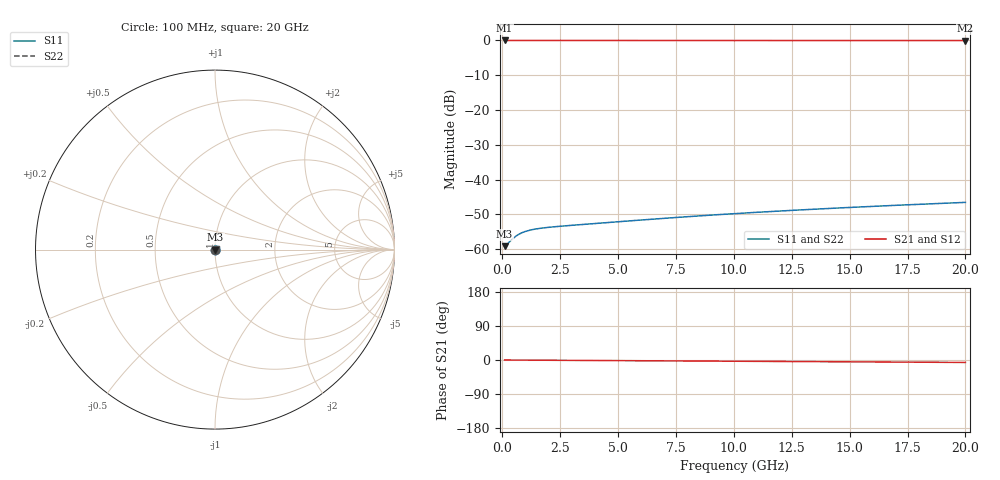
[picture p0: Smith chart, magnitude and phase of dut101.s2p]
! Touchstone file exported from HFSS 2026.1.0
!  File:  C:/ffzhzh/LocalFiles/Ansys_Project_Files/temp_train_BSMRDL_101_1782985683_42984.aedt
!  Generated:  05:49:14 PM Jul  2, 2026
!  Design:  BSMRDL
!  Project:  temp_train_BSMRDL_101_1782985683_42984
! Variables:
!  h_bsmrdl = 2.17um
!  h_ox = 20um
!  h_rdl = 5um
!  h_sub = 80um
!  h_tmrdl = 5um
!  h_tsv = 80um
!  h_via = 3um
!  l_bsmrdl = 100.97um
!  l_sub = 500.97um
!  l_tmrdl = 200um
!  m_sub = 200um
!  pitch = 28.79um
!  r_tsv = 6um
!  s_tmrdl = 10um
!  w_bsmrdl = 25.84um
!  w_sub = 500um
!  w_tmrdl = 12um
!  x_tsv_center1 = 206um
!  x_tsv_center2 = 332.81um
!  x_tsv_center3 = 544.81um
!  x_tsv_center4 = 671.62um
!  x_tsv_center5 = 883.62um
!  x_tsv_center6 = 1010.43um
# GHz S MA R 50.000000
! Terminal data exported
! Port[1] = BSM_RDL1_1_T1
! Port[2] = BSM_RDL1_1_T2
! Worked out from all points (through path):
!   200 points, 100 MHz to 20 GHz, reference 50 ohm
!   highest |S21| = -0.01 dB at 100 MHz (marker M1); lowest = 0.0 dB at 20 GHz (marker M2)
!   lowest |S11| = -59.2 dB at 100 MHz (marker M3), VSWR 1.00, Z = 50.1 + j0.0138 ohm
!   |S11| at or under -10 dB: start of sweep to end of sweep
!   |S22| runs from -59.2 to -46.6 dB; largest |S21 - S12| = 2.2e-15
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0.1  0.001102 7.2  0.9989 -0.0  0.9989 -0.0  0.001102 7.2
! Gamma 0 0 0 0
! Port Impedance 50 0 50 0
0.2  0.001168 13.1  0.9989 -0.1  0.9989 -0.1  0.001168 13.1
0.4  0.001359 19.5  0.9987 -0.2  0.9987 -0.2  0.001359 19.5
0.5  0.001456 20.8  0.9986 -0.2  0.9986 -0.2  0.001456 20.8
0.6  0.001545 21.2  0.9986 -0.2  0.9986 -0.2  0.001545 21.2
0.7  0.001623 21.2  0.9985 -0.3  0.9985 -0.3  0.001623 21.2
0.8  0.00169 21.0  0.9984 -0.3  0.9984 -0.3  0.00169 21.0
0.9  0.001747 20.7  0.9984 -0.3  0.9984 -0.3  0.001747 20.7
1.1  0.001838 20.0  0.9983 -0.4  0.9983 -0.4  0.001838 20.0
1.2  0.001874 19.6  0.9982 -0.4  0.9982 -0.4  0.001875 19.7
1.4  0.001934 19.1  0.9982 -0.5  0.9982 -0.5  0.001934 19.1
1.6  0.001982 18.7  0.9981 -0.5  0.9981 -0.5  0.001982 18.7
1.9  0.002039 18.4  0.9981 -0.6  0.9981 -0.6  0.00204 18.4
2.5  0.00213 18.6  0.998 -0.8  0.998 -0.8  0.002131 18.6
3.5  0.002264 19.6  0.9979 -1.2  0.9979 -1.2  0.002264 19.6
6.8  0.002741 22.6  0.9975 -2.2  0.9975 -2.2  0.002741 22.6
8.5  0.003001 22.8  0.9973 -2.8  0.9973 -2.8  0.003002 22.8
10.1  0.003245 22.3  0.9971 -3.3  0.9971 -3.3  0.003246 22.3
11.7  0.003485 21.3  0.9968 -3.8  0.9968 -3.8  0.003487 21.3
13.4  0.003736 19.9  0.9966 -4.3  0.9966 -4.3  0.003738 19.9
16.7  0.004217 16.3  0.9961 -5.4  0.9961 -5.4  0.00422 16.3
20  0.004693 11.7  0.9955 -6.4  0.9955 -6.4  0.004697 11.7
